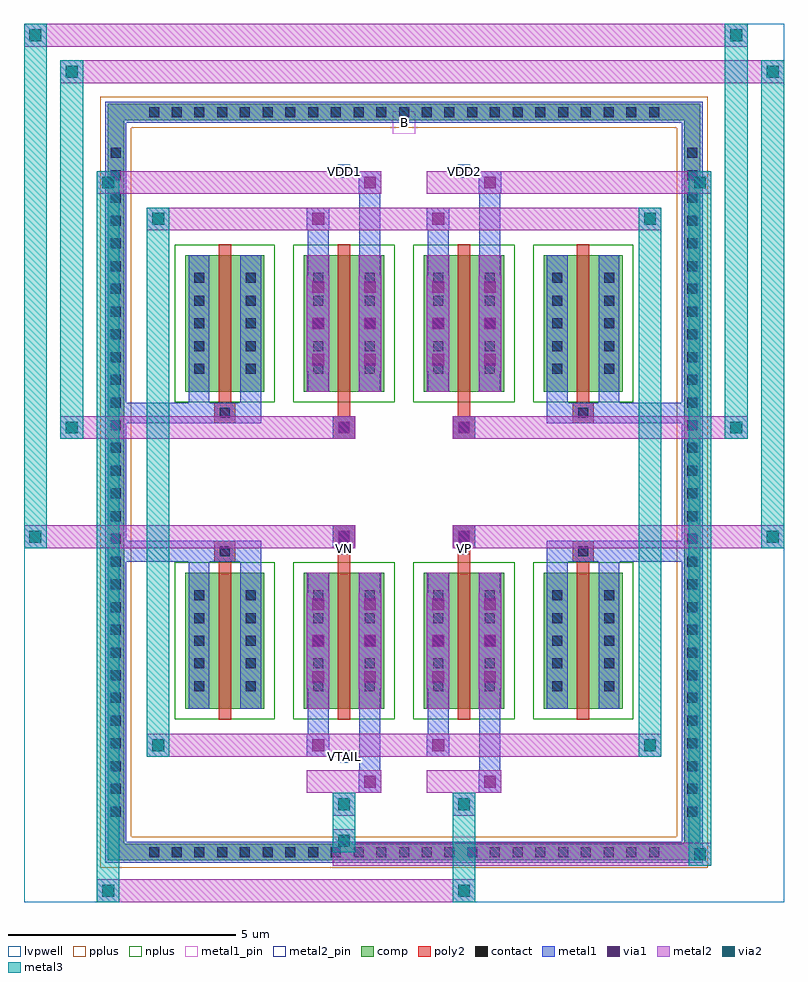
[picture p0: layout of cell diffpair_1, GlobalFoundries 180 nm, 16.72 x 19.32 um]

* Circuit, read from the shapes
.subckt diffpair_1 B VDD1 VDD2 VN VP VTAIL
XM1 B B B B nfet_03v3 w=3u l=0.28u m=4
XM2 VDD2 VN VTAIL B nfet_03v3 w=3u l=0.28u m=2
XM3 VDD1 VP VTAIL B nfet_03v3 w=3u l=0.28u m=2
.ends

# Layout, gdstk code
import gdstk
lib = gdstk.Library(unit=1e-6, precision=5e-09)
def R(c, l, rs):  # rectangles x0, y0, x1, y1
    for r in rs: c.add(gdstk.rectangle(r[:2], r[2:], *l))
def A(c, l, x, y, w, h, nx, ny, dx, dy):  # array of equal rectangles
    R(c, l, [(x+i*dx, y+j*dy, x+i*dx+w, y+j*dy+h) for i in range(nx) for j in range(ny)])
def P(c, l, *ps):  # polygons
    for p in ps: c.add(gdstk.Polygon(p, *l))
comp = (22, 0)
poly2 = (30, 0)
pplus = (31, 0)
nplus = (32, 0)
contact = (33, 0)
metal1 = (34, 0)
metal1_pin = (34, 10)
via1 = (35, 0)
metal2 = (36, 0)
metal2_pin = (36, 10)
via2 = (38, 0)
metal3 = (42, 0)
lvpwell = (204, 0)

diffpair_1 = lib.new_cell('diffpair_1')
A(diffpair_1, comp, -5.68, -8.32, 0.36, 0.36, 23, 2, 0.5, 16.28)
A(diffpair_1, comp, -6.52, -7.43, 0.36, 0.36, 1, 30, 0, 0.5)
A(diffpair_1, comp, 6.16, -7.43, 0.36, 0.36, 1, 30, 0, 0.5)
R(diffpair_1, comp, [(-5.68,-8.32,5.68,-7.96), (-6.52,-7.43,-6.16,7.43), (6.16,-7.43,6.52,7.43), (-4.81,-4.99,-3.07,-1.99), (-2.21,-4.99,-0.43,-1.99), (0.43,-4.99,2.21,-1.99), (3.07,-4.99,4.81,-1.99), (-4.81,1.99,-3.07,4.99), (-2.21,1.99,-0.43,4.99), (0.43,1.99,2.21,4.99), (3.07,1.99,4.81,4.99), (-5.68,7.96,5.68,8.32)])
P(diffpair_1, comp, [(6.52,8.32),(-6.52,8.32),(-6.52,-7.96),(-6.16,-7.96),(-6.16,7.96),(6.16,7.96),(6.16,-7.96),(-6.16,-7.96),(-6.52,-7.96),(-6.52,-8.32),(6.52,-8.32)])
R(diffpair_1, poly2, [(-4.08,-5.23,-3.8,-1.75), (-1.46,-5.23,-1.18,-1.75), (1.18,-5.23,1.46,-1.75), (3.8,-5.23,4.08,-1.75), (-4.17,-1.75,-3.71,-1.29), (-1.46,-1.75,-1.18,-1.45), (1.18,-1.75,1.46,-1.45), (3.71,-1.75,4.17,-1.29), (-4.12,-1.7,-3.76,-1.34), (3.76,-1.7,4.12,-1.34), (-1.57,-1.45,-1.07,-0.95), (1.07,-1.45,1.57,-0.95), (-1.5,-1.38,-1.14,-1.02), (1.14,-1.38,1.5,-1.02), (-1.57,0.95,-1.07,1.45), (1.07,0.95,1.57,1.45), (-1.5,1.02,-1.14,1.38), (1.14,1.02,1.5,1.38), (-4.17,1.29,-3.71,1.75), (3.71,1.29,4.17,1.75), (-4.12,1.34,-3.76,1.7), (3.76,1.34,4.12,1.7), (-1.46,1.45,-1.18,1.75), (1.18,1.45,1.46,1.75), (-4.08,1.75,-3.8,5.23), (-1.46,1.75,-1.18,5.23), (1.18,1.75,1.46,5.23), (3.8,1.75,4.08,5.23)])
P(diffpair_1, pplus, [(6.68,8.48),(-6.68,8.48),(-6.68,-7.8),(-6,-7.8),(-6,7.8),(6,7.8),(6,-7.8),(-6,-7.8),(-6.68,-7.8),(-6.68,-8.48),(6.68,-8.48)])
R(diffpair_1, nplus, [(-5.04,-5.22,-2.84,-1.76), (-2.44,-5.22,-0.2,-1.76), (0.2,-5.22,2.44,-1.76), (2.84,-5.22,5.04,-1.76), (-5.04,1.76,-2.84,5.22), (-2.44,1.76,-0.2,5.22), (0.2,1.76,2.44,5.22), (2.84,1.76,5.04,5.22)])
A(diffpair_1, contact, -5.61, -8.25, 0.22, 0.22, 23, 2, 0.5, 16.28)
A(diffpair_1, contact, -6.45, -7.36, 0.22, 0.22, 1, 30, 0, 0.5)
A(diffpair_1, contact, 6.23, -7.36, 0.22, 0.22, 1, 30, 0, 0.5)
A(diffpair_1, contact, -4.62, -4.6, 0.22, 0.22, 1, 5, 0, 0.5)
A(diffpair_1, contact, -3.48, -4.6, 0.22, 0.22, 1, 5, 0, 0.5)
A(diffpair_1, contact, -2, -4.6, 0.22, 0.22, 1, 5, 0, 0.5)
A(diffpair_1, contact, -0.86, -4.6, 0.22, 0.22, 1, 5, 0, 0.5)
A(diffpair_1, contact, 0.64, -4.6, 0.22, 0.22, 1, 5, 0, 0.5)
A(diffpair_1, contact, 1.78, -4.6, 0.22, 0.22, 1, 5, 0, 0.5)
A(diffpair_1, contact, 3.26, -4.6, 0.22, 0.22, 1, 5, 0, 0.5)
A(diffpair_1, contact, 4.4, -4.6, 0.22, 0.22, 1, 5, 0, 0.5)
A(diffpair_1, contact, -4.62, 2.38, 0.22, 0.22, 1, 5, 0, 0.5)
A(diffpair_1, contact, -3.48, 2.38, 0.22, 0.22, 1, 5, 0, 0.5)
A(diffpair_1, contact, -2, 2.38, 0.22, 0.22, 1, 5, 0, 0.5)
A(diffpair_1, contact, -0.86, 2.38, 0.22, 0.22, 1, 5, 0, 0.5)
A(diffpair_1, contact, 0.64, 2.38, 0.22, 0.22, 1, 5, 0, 0.5)
A(diffpair_1, contact, 1.78, 2.38, 0.22, 0.22, 1, 5, 0, 0.5)
A(diffpair_1, contact, 3.26, 2.38, 0.22, 0.22, 1, 5, 0, 0.5)
A(diffpair_1, contact, 4.4, 2.38, 0.22, 0.22, 1, 5, 0, 0.5)
R(diffpair_1, contact, [(-4.05,-1.63,-3.83,-1.41), (3.83,-1.63,4.05,-1.41), (-1.43,-1.31,-1.21,-1.09), (1.21,-1.31,1.43,-1.09), (-1.43,1.09,-1.21,1.31), (1.21,1.09,1.43,1.31), (-4.05,1.41,-3.83,1.63), (3.83,1.41,4.05,1.63)])
A(diffpair_1, metal1, -5.73, -8.37, 0.46, 0.46, 23, 2, 0.5, 16.28)
A(diffpair_1, metal1, -6.57, -7.48, 0.46, 0.46, 1, 30, 0, 0.5)
A(diffpair_1, metal1, 6.11, -7.48, 0.46, 0.46, 1, 30, 0, 0.5)
A(diffpair_1, metal1, -4.74, -4.72, 0.46, 0.46, 1, 5, 0, 0.5)
A(diffpair_1, metal1, -3.6, -4.72, 0.46, 0.46, 1, 5, 0, 0.5)
A(diffpair_1, metal1, -2.12, -4.72, 0.46, 0.46, 1, 5, 0, 0.5)
A(diffpair_1, metal1, -0.98, -4.72, 0.46, 0.46, 1, 5, 0, 0.5)
A(diffpair_1, metal1, 0.52, -4.72, 0.46, 0.46, 1, 5, 0, 0.5)
A(diffpair_1, metal1, 1.66, -4.72, 0.46, 0.46, 1, 5, 0, 0.5)
A(diffpair_1, metal1, 3.14, -4.72, 0.46, 0.46, 1, 5, 0, 0.5)
A(diffpair_1, metal1, 4.28, -4.72, 0.46, 0.46, 1, 5, 0, 0.5)
A(diffpair_1, metal1, -2.14, -4.54, 0.5, 0.5, 1, 3, 0, 0.8)
A(diffpair_1, metal1, -1, -4.54, 0.5, 0.5, 1, 3, 0, 0.8)
A(diffpair_1, metal1, 0.5, -4.54, 0.5, 0.5, 1, 3, 0, 0.8)
A(diffpair_1, metal1, 1.64, -4.54, 0.5, 0.5, 1, 3, 0, 0.8)
A(diffpair_1, metal1, -4.74, 2.26, 0.46, 0.46, 1, 5, 0, 0.5)
A(diffpair_1, metal1, -3.6, 2.26, 0.46, 0.46, 1, 5, 0, 0.5)
A(diffpair_1, metal1, -2.12, 2.26, 0.46, 0.46, 1, 5, 0, 0.5)
A(diffpair_1, metal1, -0.98, 2.26, 0.46, 0.46, 1, 5, 0, 0.5)
A(diffpair_1, metal1, 0.52, 2.26, 0.46, 0.46, 1, 5, 0, 0.5)
A(diffpair_1, metal1, 1.66, 2.26, 0.46, 0.46, 1, 5, 0, 0.5)
A(diffpair_1, metal1, 3.14, 2.26, 0.46, 0.46, 1, 5, 0, 0.5)
A(diffpair_1, metal1, 4.28, 2.26, 0.46, 0.46, 1, 5, 0, 0.5)
A(diffpair_1, metal1, -2.14, 2.44, 0.5, 0.5, 1, 3, 0, 0.8)
A(diffpair_1, metal1, -1, 2.44, 0.5, 0.5, 1, 3, 0, 0.8)
A(diffpair_1, metal1, 0.5, 2.44, 0.5, 0.5, 1, 3, 0, 0.8)
A(diffpair_1, metal1, 1.64, 2.44, 0.5, 0.5, 1, 3, 0, 0.8)
R(diffpair_1, metal1, [(-6.57,-8.37,-6.16,-7.91), (-6.57,-8.37,-6.11,-7.96), (-6.16,-8.37,6.16,-7.91), (6.11,-8.37,6.57,-7.96), (6.16,-8.37,6.57,-7.91), (-6.57,-7.96,-6.11,7.96), (6.11,-7.96,6.57,7.96), (-1,-6.84,-0.5,-6.34), (-0.98,-6.84,-0.52,-4.99), (1.64,-6.84,2.14,-6.34), (1.66,-6.84,2.12,-4.99), (-2.14,-6.04,-1.64,-5.54), (-2.12,-6.04,-1.66,-4.99), (0.5,-6.04,1,-5.54), (0.52,-6.04,0.98,-4.99), (-4.74,-4.99,-4.28,-1.99), (-3.6,-4.99,-3.14,-1.99), (-2.12,-4.99,-1.66,-1.99), (-0.98,-4.99,-0.52,-1.99), (0.52,-4.99,0.98,-1.99), (1.66,-4.99,2.12,-1.99), (3.14,-4.99,3.6,-1.99), (4.28,-4.99,4.74,-1.99), (-2.14,-4.54,-1.64,-2.44), (-1,-4.54,-0.5,-2.44), (0.5,-4.54,1,-2.44), (1.64,-4.54,2.14,-2.44), (-4.74,-1.99,-4.28,-1.29), (-3.6,-1.99,-3.14,-1.29), (3.14,-1.99,3.6,-1.29), (4.28,-1.99,4.74,-1.29), (-6.57,-1.75,-4.17,-1.29), (-4.74,-1.75,-4.17,-1.29), (-4.17,-1.75,-3.71,-1.29), (-3.71,-1.75,-3.14,-1.29), (3.14,-1.75,3.71,-1.29), (3.71,-1.75,4.17,-1.29), (3.71,-1.75,6.57,-1.29), (4.17,-1.75,4.74,-1.29), (-1.57,-1.45,-1.07,-0.95), (1.07,-1.45,1.57,-0.95), (-1.57,0.95,-1.07,1.45), (1.07,0.95,1.57,1.45), (-6.57,1.29,-4.17,1.75), (-4.74,1.29,-4.17,1.75), (-4.74,1.29,-4.28,1.99), (-4.17,1.29,-3.71,1.75), (-3.71,1.29,-3.14,1.75), (-3.6,1.29,-3.14,1.99), (3.14,1.29,3.71,1.75), (3.14,1.29,3.6,1.99), (3.71,1.29,4.17,1.75), (3.71,1.29,6.57,1.75), (4.17,1.29,4.74,1.75), (4.28,1.29,4.74,1.99), (-4.74,1.99,-4.28,4.99), (-3.6,1.99,-3.14,4.99), (-2.12,1.99,-1.66,4.99), (-0.98,1.99,-0.52,4.99), (0.52,1.99,0.98,4.99), (1.66,1.99,2.12,4.99), (3.14,1.99,3.6,4.99), (4.28,1.99,4.74,4.99), (-2.14,2.44,-1.64,4.54), (-1,2.44,-0.5,4.54), (0.5,2.44,1,4.54), (1.64,2.44,2.14,4.54), (-2.12,4.99,-1.66,6.04), (-0.98,4.99,-0.52,6.84), (0.52,4.99,0.98,6.04), (1.66,4.99,2.12,6.84), (-2.14,5.54,-1.64,6.04), (0.5,5.54,1,6.04), (-1,6.34,-0.5,6.84), (1.64,6.34,2.14,6.84), (-6.57,7.91,-6.16,8.37), (-6.16,7.91,6.16,8.37), (6.16,7.91,6.57,8.37), (-6.57,7.96,-6.11,8.37), (6.11,7.96,6.57,8.37)])
R(diffpair_1, metal1_pin, [(-0.25,7.66,0.25,8.16)])
A(diffpair_1, via1, -2.02, -4.42, 0.26, 0.26, 1, 3, 0, 0.8)
A(diffpair_1, via1, -0.88, -4.42, 0.26, 0.26, 1, 3, 0, 0.8)
A(diffpair_1, via1, 0.62, -4.42, 0.26, 0.26, 1, 3, 0, 0.8)
A(diffpair_1, via1, 1.76, -4.42, 0.26, 0.26, 1, 3, 0, 0.8)
A(diffpair_1, via1, -2.02, 2.56, 0.26, 0.26, 1, 3, 0, 0.8)
A(diffpair_1, via1, -0.88, 2.56, 0.26, 0.26, 1, 3, 0, 0.8)
A(diffpair_1, via1, 0.62, 2.56, 0.26, 0.26, 1, 3, 0, 0.8)
A(diffpair_1, via1, 1.76, 2.56, 0.26, 0.26, 1, 3, 0, 0.8)
R(diffpair_1, via1, [(-0.88,-6.72,-0.62,-6.46), (1.76,-6.72,2.02,-6.46), (-2.02,-5.92,-1.76,-5.66), (0.62,-5.92,0.88,-5.66), (-1.45,-1.33,-1.19,-1.07), (1.19,-1.33,1.45,-1.07), (-1.45,1.07,-1.19,1.33), (1.19,1.07,1.45,1.33), (-2.02,5.66,-1.76,5.92), (0.62,5.66,0.88,5.92), (-0.88,6.46,-0.62,6.72), (1.76,6.46,2.02,6.72)])
A(diffpair_1, metal2, -2.14, -4.54, 0.5, 0.5, 1, 3, 0, 0.8)
A(diffpair_1, metal2, -1, -4.54, 0.5, 0.5, 1, 3, 0, 0.8)
A(diffpair_1, metal2, 0.5, -4.54, 0.5, 0.5, 1, 3, 0, 0.8)
A(diffpair_1, metal2, 1.64, -4.54, 0.5, 0.5, 1, 3, 0, 0.8)
A(diffpair_1, metal2, -2.14, 2.44, 0.5, 0.5, 1, 3, 0, 0.8)
A(diffpair_1, metal2, -1, 2.44, 0.5, 0.5, 1, 3, 0, 0.8)
A(diffpair_1, metal2, 0.5, 2.44, 0.5, 0.5, 1, 3, 0, 0.8)
A(diffpair_1, metal2, 1.64, 2.44, 0.5, 0.5, 1, 3, 0, 0.8)
R(diffpair_1, metal2, [(-6.76,-9.24,-6.26,-8.74), (-6.76,-9.24,1.57,-8.74), (1.07,-9.24,1.57,-8.74), (-1.57,-8.44,6.76,-7.94), (6.26,-8.44,6.76,-7.94), (-1.57,-8.14,-1.07,-7.64), (-1.57,-7.34,-1.07,-6.84), (1.07,-7.34,1.57,-6.84), (-2.14,-6.84,-0.5,-6.34), (-1,-6.84,-0.5,-6.34), (0.5,-6.84,2.14,-6.34), (1.64,-6.84,2.14,-6.34), (-5.66,-6.04,-5.16,-5.54), (-5.66,-6.04,-2.14,-5.54), (-2.14,-6.04,-1.64,-5.54), (-2.14,-6.04,-0.5,-5.54), (-0.5,-6.04,0.5,-5.54), (0.5,-6.04,1,-5.54), (0.5,-6.04,2.14,-5.54), (2.14,-6.04,5.66,-5.54), (5.16,-6.04,5.66,-5.54), (-2.14,-4.99,-1.64,-1.99), (-1,-4.99,-0.5,-1.99), (0.5,-4.99,1,-1.99), (1.64,-4.99,2.14,-1.99), (-8.36,-1.45,-7.86,-0.95), (-8.36,-1.45,-1.07,-0.95), (-1.57,-1.45,-1.07,-0.95), (-1.57,-1.45,-1.07,-0.95), (1.07,-1.45,1.57,-0.95), (1.07,-1.45,1.57,-0.95), (1.07,-1.45,8.36,-0.95), (7.86,-1.45,8.36,-0.95), (-7.56,0.95,-7.06,1.45), (-7.56,0.95,-1.57,1.45), (-1.57,0.95,-1.07,1.45), (-1.57,0.95,-1.07,1.45), (1.07,0.95,1.57,1.45), (1.07,0.95,1.57,1.45), (1.57,0.95,7.56,1.45), (7.06,0.95,7.56,1.45), (-2.14,1.99,-1.64,4.99), (-1,1.99,-0.5,4.99), (0.5,1.99,1,4.99), (1.64,1.99,2.14,4.99), (-5.66,5.54,-5.16,6.04), (-5.66,5.54,-2.14,6.04), (-2.14,5.54,-1.64,6.04), (-2.14,5.54,-0.5,6.04), (-0.5,5.54,0.5,6.04), (0.5,5.54,1,6.04), (0.5,5.54,2.14,6.04), (2.14,5.54,5.66,6.04), (5.16,5.54,5.66,6.04), (-6.76,6.34,-6.26,6.84), (-6.76,6.34,-2.14,6.84), (-2.14,6.34,-0.5,6.84), (-1,6.34,-0.5,6.84), (0.5,6.34,2.14,6.84), (1.64,6.34,2.14,6.84), (2.14,6.34,6.76,6.84), (6.26,6.34,6.76,6.84), (-7.56,8.78,-7.06,9.28), (-7.56,8.78,-5.16,9.28), (-5.16,8.78,5.16,9.28), (5.16,8.78,8.36,9.28), (7.86,8.78,8.36,9.28), (-8.36,9.58,-7.86,10.08), (-8.36,9.58,-5.16,10.08), (-5.16,9.58,5.16,10.08), (5.16,9.58,7.56,10.08), (7.06,9.58,7.56,10.08)])
R(diffpair_1, metal2_pin, [(-1.46,-6.18,-1.18,-5.9), (-1.46,-1.59,-1.18,-1.31), (1.18,-1.59,1.46,-1.31), (-1.46,6.7,-1.18,6.98), (1.18,6.7,1.46,6.98)])
R(diffpair_1, via2, [(-6.64,-9.12,-6.38,-8.86), (1.19,-9.12,1.45,-8.86), (6.38,-8.32,6.64,-8.06), (-1.45,-8.02,-1.19,-7.76), (-1.45,-7.22,-1.19,-6.96), (1.19,-7.22,1.45,-6.96), (-5.54,-5.92,-5.28,-5.66), (5.28,-5.92,5.54,-5.66), (-8.24,-1.33,-7.98,-1.07), (7.98,-1.33,8.24,-1.07), (-7.44,1.07,-7.18,1.33), (7.18,1.07,7.44,1.33), (-5.54,5.66,-5.28,5.92), (5.28,5.66,5.54,5.92), (-6.64,6.46,-6.38,6.72), (6.38,6.46,6.64,6.72), (-7.44,8.9,-7.18,9.16), (7.98,8.9,8.24,9.16), (-8.24,9.7,-7.98,9.96), (7.18,9.7,7.44,9.96)])
R(diffpair_1, metal3, [(-6.76,-9.24,-6.26,-8.74), (-6.76,-9.24,-6.26,-8.74), (-6.76,-9.24,-6.26,6.84), (1.07,-9.24,1.57,-8.74), (1.07,-8.74,1.57,-7.34), (6.26,-8.44,6.76,-7.94), (6.26,-8.44,6.76,-7.94), (6.26,-8.44,6.76,6.84), (-1.57,-8.14,-1.07,-7.64), (-1.57,-7.64,-1.07,-7.34), (-1.57,-7.34,-1.07,-6.84), (1.07,-7.34,1.57,-6.84), (-5.66,-6.04,-5.16,-5.54), (-5.66,-6.04,-5.16,-5.54), (-5.66,-6.04,-5.16,6.04), (5.16,-6.04,5.66,-5.54), (5.16,-6.04,5.66,-5.54), (5.16,-6.04,5.66,6.04), (-8.36,-1.45,-7.86,-0.95), (-8.36,-1.45,-7.86,-0.95), (-8.36,-1.45,-7.86,10.08), (7.86,-1.45,8.36,-0.95), (7.86,-1.45,8.36,-0.95), (7.86,-1.45,8.36,9.28), (-7.56,0.95,-7.06,1.45), (-7.56,0.95,-7.06,1.45), (-7.56,0.95,-7.06,9.28), (7.06,0.95,7.56,1.45), (7.06,0.95,7.56,1.45), (7.06,0.95,7.56,10.08), (-5.66,5.54,-5.16,6.04), (-5.66,5.54,-5.16,6.04), (5.16,5.54,5.66,6.04), (5.16,5.54,5.66,6.04), (-6.76,6.34,-6.26,6.84), (-6.76,6.34,-6.26,6.84), (6.26,6.34,6.76,6.84), (6.26,6.34,6.76,6.84), (-7.56,8.78,-7.06,9.28), (-7.56,8.78,-7.06,9.28), (7.86,8.78,8.36,9.28), (7.86,8.78,8.36,9.28), (-8.36,9.58,-7.86,10.08), (-8.36,9.58,-7.86,10.08), (7.06,9.58,7.56,10.08), (7.06,9.58,7.56,10.08)])
P(diffpair_1, metal3, [(8.36,-1.45),(8.36,-1.45),(8.36,-0.95),(8.36,-0.95)],
  [(8.36,8.78),(8.36,8.78),(8.36,9.28),(8.36,9.28)],
  [(-7.86,-1.45),(-7.86,-1.45),(-7.86,-0.95),(-7.86,-0.95)],
  [(-7.86,9.58),(-7.86,9.58),(-7.86,10.08),(-7.86,10.08)],
  [(7.56,0.95),(7.56,0.95),(7.56,1.45),(7.56,1.45)],
  [(7.56,9.58),(7.56,9.58),(7.56,10.08),(7.56,10.08)],
  [(-7.06,0.95),(-7.06,0.95),(-7.06,1.45),(-7.06,1.45)],
  [(-7.06,8.78),(-7.06,8.78),(-7.06,9.28),(-7.06,9.28)],
  [(-6.26,-9.24),(-6.26,-9.24),(-6.26,-8.74),(-6.26,-8.74)],
  [(-6.26,6.34),(-6.26,6.34),(-6.26,6.84),(-6.26,6.84)],
  [(6.76,-8.44),(6.76,-8.44),(6.76,-7.94),(6.76,-7.94)],
  [(6.76,6.34),(6.76,6.34),(6.76,6.84),(6.76,6.84)],
  [(-5.16,-6.04),(-5.16,-6.04),(-5.16,-5.54),(-5.16,-5.54)],
  [(-5.16,5.54),(-5.16,5.54),(-5.16,6.04),(-5.16,6.04)],
  [(5.66,-6.04),(5.66,-6.04),(5.66,-5.54),(5.66,-5.54)],
  [(5.66,5.54),(5.66,5.54),(5.66,6.04),(5.66,6.04)])
R(diffpair_1, lvpwell, [(-8.36,-9.24,8.36,10.08), (-5.16,-6.96,-0.08,-0.83), (0.08,-6.96,5.16,-0.83), (-5.16,0.83,-0.08,6.96), (0.08,0.83,5.16,6.96)])
diffpair_1.add(gdstk.Label('VTAIL', (-1.32,-6.04), layer=36, texttype=10))
diffpair_1.add(gdstk.Label('VN', (-1.32,-1.45), layer=36, texttype=10))
diffpair_1.add(gdstk.Label('VP', (1.32,-1.45), layer=36, texttype=10))
diffpair_1.add(gdstk.Label('B', (0,7.91), layer=34, texttype=10))
diffpair_1.add(gdstk.Label('VDD2', (1.32,6.84), layer=36, texttype=10))
diffpair_1.add(gdstk.Label('VDD1', (-1.32,6.84), layer=36, texttype=10))

lib.write_gds('diffpair_1.gds')
